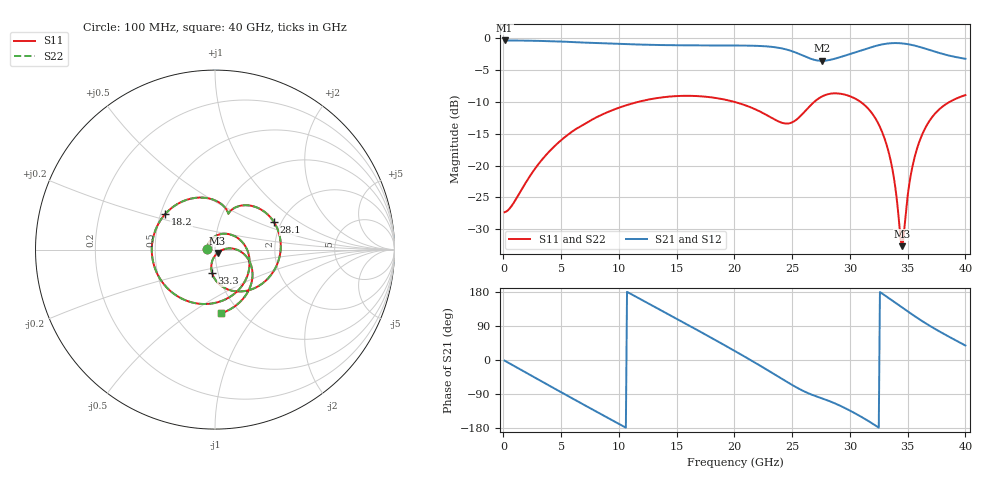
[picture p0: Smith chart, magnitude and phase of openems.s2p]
! P_ts6_finger_far: gold finger 0.7 × 2.1 mm between GND fingers (gap 0.3 mm), L2 cut back (next plane L5)
! stackup: ThunderScope Rev5.3 6-layer (FR408HR / FR-4, from the board file)
! ports: 1, 2
! openEMS 0.37.0, staircase, fine mesh (dfine 0.0175 mm), 4105575 cells
# Hz S RI R 50
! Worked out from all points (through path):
!   400 points, 100 MHz to 40 GHz, reference 50 ohm
!   highest |S21| = -0.38 dB at 100 MHz (marker M1); lowest = -3.6 dB at 27.6 GHz (marker M2)
!   group delay of S21, straight-line fit = 46.8 ps
!   lowest |S11| = -32.6 dB at 34.5 GHz (marker M3), VSWR 1.05, Z = 51.4 - j1.87 ohm
!   |S11| at or under -10 dB: start of sweep to 11.7 GHz; 19.96 GHz to 26.92 GHz (6.962 GHz wide, 29.7 % of centre); 30.91 GHz to 38.65 GHz (7.744 GHz wide, 22.3 % of centre)
!   |S22| runs from -32.6 to -8.7 dB; largest |S21 - S12| = 0
!   S11 on the Smith chart (normalised r, x): 100 MHz: 0.92, +0.01; 18.2 GHz: 0.53, +0.24; 28.1 GHz: 1.83, +0.65; 33.3 GHz: 0.94, -0.25; 40 GHz: 0.82, -0.67
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1e8  -0.0428 0.00443  0.9563 -0.0286  0.9563 -0.0286  -0.0428 0.00443
1.8e9  -0.0061 0.07  0.8199 -0.4877  0.8199 -0.4877  -0.0061 0.07
3.7e9  0.0882 0.0834  0.4279 -0.8436  0.4279 -0.8436  0.0882 0.0834
5.2e9  0.161 0.0308  0.024 -0.936  0.024 -0.936  0.161 0.0308
6.8e9  0.1922 -0.0736  -0.3957 -0.8323  -0.3957 -0.8323  0.1922 -0.0736
1.01e10  0.0467 -0.2823  -0.8858 -0.1517  -0.8858 -0.1517  0.0467 -0.2823
1.34e10  -0.249 -0.2303  -0.6261 0.6204  -0.6261 0.6204  -0.249 -0.2303
1.58e10  -0.3518 -0.0179  -0.0835 0.872  -0.0835 0.872  -0.3518 -0.0179
1.82e10  -0.2766 0.1987  0.4994 0.7177  0.4994 0.7177  -0.2766 0.1987
2.01e10  -0.133 0.2841  0.8063 0.336  0.8063 0.336  -0.133 0.2841
2.21e10  0.0133 0.2679  0.8457 -0.1906  0.8457 -0.1906  0.0133 0.2679
2.4e10  0.0722 0.2059  0.5605 -0.6154  0.5605 -0.6154  0.0722 0.2059
2.67e10  0.1756 0.2471  -0.0184 -0.6831  -0.0184 -0.6831  0.1756 0.2471
2.76e10  0.2807 0.2066  -0.1314 -0.6494  -0.1314 -0.6494  0.2807 0.2066
2.81e10  0.3286 0.1531  -0.1955 -0.6398  -0.1955 -0.6398  0.3286 0.1531
3.08e10  0.2547 -0.1954  -0.6606 -0.4335  -0.6606 -0.4335  0.2547 -0.1954
3.33e10  -0.0157 -0.1322  -0.8737 0.2389  -0.8737 0.2389  -0.0157 -0.1322
3.34e10  -0.0184 -0.1214  -0.8661 0.2719  -0.8661 0.2719  -0.0184 -0.1214
3.45e10  0.0146 -0.0182  -0.6839 0.5968  -0.6839 0.5968  0.0146 -0.0182
3.53e10  0.0867 0.00675  -0.4684 0.7504  -0.4684 0.7504  0.0867 0.00675
3.62e10  0.1675 -0.0307  -0.2012 0.8186  -0.2012 0.8186  0.1675 -0.0307
4e10  0.033 -0.3556  0.5404 0.4253  0.5404 0.4253  0.033 -0.3556
